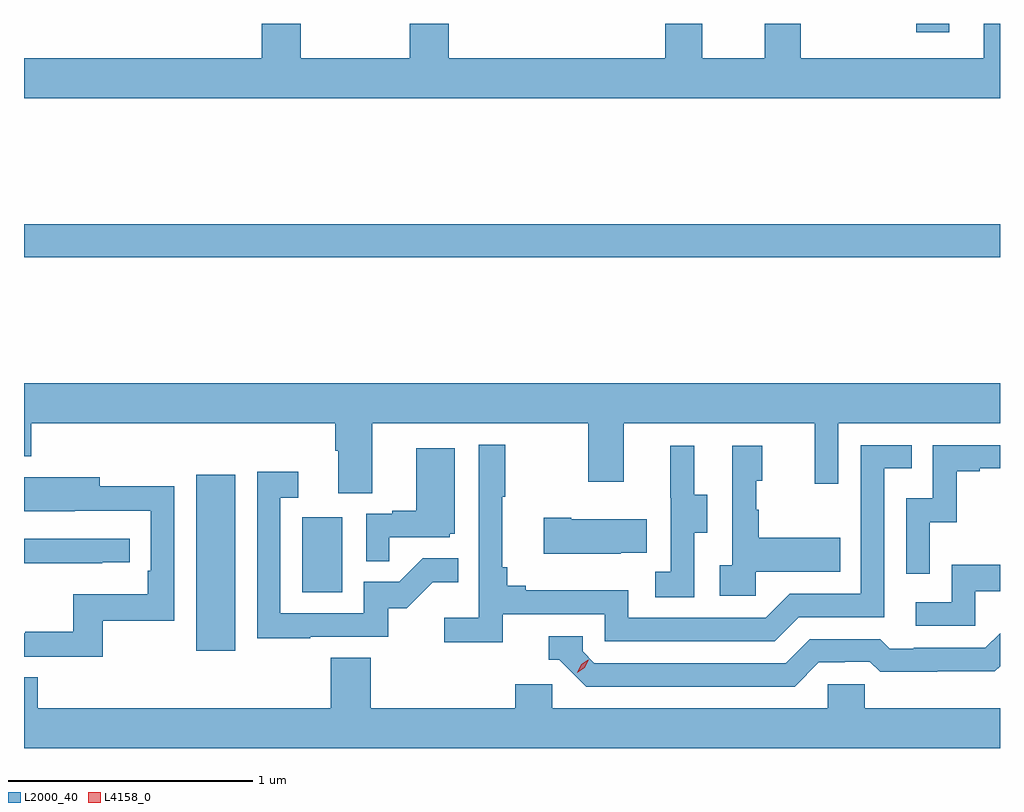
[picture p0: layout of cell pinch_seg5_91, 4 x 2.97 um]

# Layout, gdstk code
import gdstk
lib = gdstk.Library(unit=1e-6, precision=1e-09)
def R(c, l, rs):  # rectangles x0, y0, x1, y1
    for r in rs: c.add(gdstk.rectangle(r[:2], r[2:], *l))
def P(c, l, *ps):  # polygons
    for p in ps: c.add(gdstk.Polygon(p, *l))
L2000_40 = (2000, 40)
L4158_0 = (4158, 0)

pinch_seg5_91 = lib.new_cell('pinch_seg5_91')
R(pinch_seg5_91, L2000_40, [(1018.253,906.444,1018.414,907.165), (1018.688,906.684,1018.852,906.991), (1017.548,908.056,1021.548,908.192), (1021.204,908.979,1021.339,909.014)])
P(pinch_seg5_91, L2000_40, [(1021.548,909.014),(1021.481,909.014),(1021.481,908.872),(1020.732,908.872),(1020.732,909.014),(1020.584,909.014),(1020.584,908.872),(1020.328,908.872),(1020.328,909.014),(1020.176,909.014),(1020.176,908.872),(1019.288,908.872),(1019.288,909.014),(1019.128,909.014),(1019.128,908.872),(1018.683,908.872),(1018.683,909.014),(1018.523,909.014),(1018.523,908.872),(1017.548,908.872),(1017.548,908.708),(1021.548,908.708)],
  [(1018.975,907.376),(1019.86,907.376),(1019.86,907.137),(1020.007,907.137),(1020.007,907.376),(1020.788,907.376),(1020.788,907.128),(1020.885,907.128),(1020.885,907.376),(1021.548,907.376),(1021.548,907.54),(1017.548,907.54),(1017.548,907.241),(1017.578,907.241),(1017.578,907.376),(1018.823,907.376),(1018.823,907.264),(1018.835,907.264),(1018.835,907.09),(1018.975,907.09)],
  [(1019.51,906.594),(1019.928,906.594),(1019.928,906.483),(1020.625,906.483),(1020.724,906.582),(1021.074,906.582),(1021.074,907.191),(1021.187,907.191),(1021.187,907.287),(1020.978,907.287),(1020.978,906.678),(1020.687,906.678),(1020.588,906.579),(1020.024,906.579),(1020.024,906.691),(1019.605,906.691),(1019.605,906.71),(1019.528,906.71),(1019.528,906.787),(1019.509,906.787),(1019.509,907.075),(1019.521,907.075),(1019.521,907.288),(1019.412,907.288),(1019.412,906.58),(1019.271,906.58),(1019.271,906.478),(1019.51,906.478)],
  [(1021.26,906.971),(1021.37,906.971),(1021.37,907.179),(1021.465,907.179),(1021.465,907.191),(1021.548,907.191),(1021.548,907.287),(1021.272,907.287),(1021.272,907.068),(1021.164,907.068),(1021.164,906.759),(1021.26,906.759)],
  [(1020.546,906.767),(1020.893,906.767),(1020.893,906.907),(1020.559,906.907),(1020.559,907.022),(1020.549,907.022),(1020.549,907.14),(1020.574,907.14),(1020.574,907.285),(1020.45,907.285),(1020.45,906.794),(1020.399,906.794),(1020.399,906.669),(1020.546,906.669)],
  [(1020.294,906.928),(1020.349,906.928),(1020.349,907.083),(1020.295,907.083),(1020.295,907.285),(1020.197,907.285),(1020.197,907.071),(1020.198,907.071),(1020.198,906.767),(1020.135,906.767),(1020.135,906.664),(1020.294,906.664)],
  [(1019.045,906.909),(1019.292,906.909),(1019.292,906.924),(1019.314,906.924),(1019.314,907.273),(1019.156,907.273),(1019.156,907.018),(1019.057,907.018),(1019.057,907.005),(1018.95,907.005),(1018.95,906.811),(1019.045,906.811)],
  [(1018.721,906.501),(1019.04,906.501),(1019.04,906.618),(1019.116,906.618),(1019.223,906.725),(1019.327,906.725),(1019.327,906.824),(1019.183,906.824),(1019.085,906.726),(1018.941,906.726),(1018.941,906.597),(1018.599,906.597),(1018.599,907.071),(1018.672,907.071),(1018.672,907.177),(1018.503,907.177),(1018.503,906.496),(1018.721,906.496)],
  [(1017.871,906.567),(1018.164,906.567),(1018.164,907.118),(1017.859,907.118),(1017.859,907.156),(1017.548,907.156),(1017.548,907.016),(1017.755,907.016),(1017.755,907.017),(1018.068,907.017),(1018.068,906.772),(1018.055,906.772),(1018.055,906.676),(1017.75,906.676),(1017.75,906.521),(1017.553,906.521),(1017.553,906.516),(1017.548,906.516),(1017.548,906.42),(1017.871,906.42)],
  [(1019.993,906.845),(1020.101,906.845),(1020.101,906.982),(1019.791,906.982),(1019.791,906.99),(1019.679,906.99),(1019.679,906.842),(1019.993,906.842)],
  [(1017.869,906.807),(1017.982,906.807),(1017.982,906.903),(1017.548,906.903),(1017.548,906.802),(1017.869,906.802)],
  [(1021.446,906.687),(1021.548,906.687),(1021.548,906.796),(1021.35,906.796),(1021.35,906.642),(1021.203,906.642),(1021.203,906.546),(1021.446,906.546)],
  [(1020.805,906.396),(1020.912,906.396),(1020.912,906.399),(1021.015,906.399),(1021.057,906.357),(1021.29,906.357),(1021.29,906.359),(1021.526,906.359),(1021.548,906.381),(1021.548,906.516),(1021.488,906.456),(1021.195,906.456),(1021.195,906.453),(1021.096,906.453),(1021.057,906.492),(1020.768,906.492),(1020.669,906.393),(1019.886,906.393),(1019.838,906.441),(1019.838,906.504),(1019.699,906.504),(1019.699,906.408),(1019.742,906.408),(1019.853,906.297),(1020.706,906.297)],
  [(1021.548,906.208),(1020.993,906.208),(1020.993,906.306),(1020.843,906.306),(1020.843,906.208),(1019.712,906.208),(1019.712,906.306),(1019.561,906.306),(1019.561,906.208),(1018.97,906.208),(1018.97,906.416),(1018.805,906.416),(1018.805,906.208),(1017.605,906.208),(1017.605,906.335),(1017.548,906.335),(1017.548,906.044),(1021.548,906.044)])
P(pinch_seg5_91, L4158_0, [(1019.815,906.354),(1019.815,906.355),(1019.831,906.388),(1019.861,906.407),(1019.862,906.407),(1019.862,906.407),(1019.846,906.374),(1019.816,906.354)])

lib.write_gds('pinch_seg5_91.gds')
